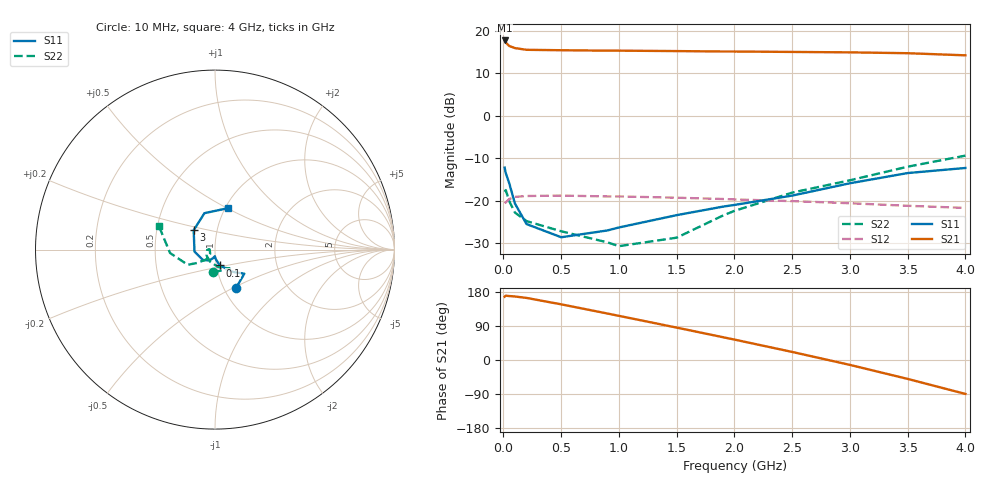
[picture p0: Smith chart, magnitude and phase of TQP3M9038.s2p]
!Freq.	S11	S11	S21	S21	S12	S12	S22	S22
!MHz	dB	Deg	dB	Deg	dB	Deg	dB	Deg
# MHz S DB R 50
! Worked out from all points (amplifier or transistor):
!   15 points, 10 MHz to 4 GHz, reference 50 ohm
!   highest |S21| = 17.7 dB at 10 MHz (marker M1)
!   |S21| within 3 dB of that: start of sweep to 3.5 GHz
!   unconditionally stable (mu >= 1): 14.61 MHz to end of sweep
!   at 50 MHz: K = 1.03, MAG = 16.9 dB, |S12| = -19.6 dB
!   at 1 GHz: K = 1.09, MAG = 15.3 dB, |S12| = -19.0 dB
!   at 4 GHz: K = 1.25, MAG = 14.9 dB, |S12| = -21.7 dB
!   S11 on the Smith chart (normalised r, x): 10 MHz: 1.13, -0.52; 100 MHz: 1.04, -0.18; 3 GHz: 0.77, +0.17; 4 GHz: 1.03, +0.51
10  -12.20 -61.9  17.70 167.0  -20.60 12.1  -17.90 -94.7
20  -13.50 -39.4  17.20 169.7  -20.40 10.0  -17.50 -52.1
50  -15.90 -50.9  16.40 168.8  -19.60 6.6  -20.10 -79.8
100  -20.70 -73.2  15.90 167.6  -19.10 1.7  -22.80 -112.9
200  -25.50 -85.5  15.50 163.8  -18.90 -4.6  -24.80 -144.3
500  -28.60 -91.1  15.40 146.9  -18.80 -18.2  -27.20 -177.2
900  -27.00 -99.7  15.30 122.7  -19.00 -34.2  -29.80 175.9
1000  -26.30 -101.9  15.30 116.5  -19.00 -38.2  -30.70 179.6
1500  -23.40 -117.6  15.20 85.5  -19.30 -58.3  -28.70 -137.4
1900  -21.40 -136.1  15.10 60.2  -19.60 -74.8  -23.50 -131.5
2000  -21.00 -141.8  15.10 53.9  -19.70 -79.0  -22.40 -132.7
2500  -18.80 -174.7  15.00 21.3  -20.10 -100.5  -18.10 -143.2
3000  -15.90 137.8  14.90 -12.9  -20.60 -122.9  -15.20 -150.9
3500  -13.50 106.2  14.70 -49.9  -21.20 -146.4  -12.00 -175.7
4000  -12.30 72.3  14.20 -89.5  -21.70 -170.4  -9.40 157.3
